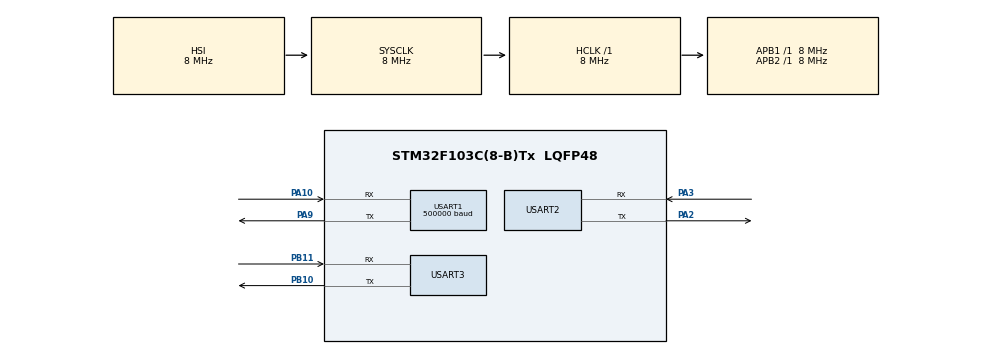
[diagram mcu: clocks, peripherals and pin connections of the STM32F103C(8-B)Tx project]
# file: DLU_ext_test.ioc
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Dma.Request0=USART1_TX
Dma.Request1=USART2_RX
Dma.Request2=USART3_RX
Dma.USART1_TX.0.Direction=DMA_MEMORY_TO_PERIPH
Dma.USART1_TX.0.Instance=DMA1_Channel4
Dma.USART1_TX.0.MemDataAlignment=DMA_MDATAALIGN_BYTE
Dma.USART1_TX.0.MemInc=DMA_MINC_ENABLE
Dma.USART1_TX.0.Mode=DMA_NORMAL
Dma.USART1_TX.0.PeriphDataAlignment=DMA_PDATAALIGN_BYTE
Dma.USART1_TX.0.PeriphInc=DMA_PINC_DISABLE
Dma.USART1_TX.0.Priority=DMA_PRIORITY_HIGH
Dma.USART2_RX.1.Direction=DMA_PERIPH_TO_MEMORY
Dma.USART2_RX.1.Instance=DMA1_Channel6
Dma.USART2_RX.1.MemDataAlignment=DMA_MDATAALIGN_BYTE
Dma.USART2_RX.1.MemInc=DMA_MINC_ENABLE
Dma.USART2_RX.1.Mode=DMA_NORMAL
Dma.USART2_RX.1.PeriphDataAlignment=DMA_PDATAALIGN_BYTE
Dma.USART2_RX.1.PeriphInc=DMA_PINC_DISABLE
Dma.USART2_RX.1.Priority=DMA_PRIORITY_VERY_HIGH
Dma.USART3_RX.2.Direction=DMA_PERIPH_TO_MEMORY
Dma.USART3_RX.2.Instance=DMA1_Channel3
Dma.USART3_RX.2.MemDataAlignment=DMA_MDATAALIGN_BYTE
Dma.USART3_RX.2.MemInc=DMA_MINC_ENABLE
Dma.USART3_RX.2.Mode=DMA_NORMAL
Dma.USART3_RX.2.PeriphDataAlignment=DMA_PDATAALIGN_BYTE
Dma.USART3_RX.2.PeriphInc=DMA_PINC_DISABLE
Dma.USART3_RX.2.Priority=DMA_PRIORITY_VERY_HIGH
Mcu.Family=STM32F1
Mcu.Name=STM32F103C(8-B)Tx
Mcu.Package=LQFP48
NVIC.DMA1_Channel3_IRQn=true\:0\:0\:false\:false\:true\:false\:true\:true
NVIC.DMA1_Channel4_IRQn=true\:0\:0\:false\:false\:true\:false\:true\:true
NVIC.DMA1_Channel6_IRQn=true\:0\:0\:false\:false\:true\:false\:true\:true
NVIC.PriorityGroup=NVIC_PRIORITYGROUP_4
NVIC.TIM1_UP_IRQn=true\:15\:0\:false\:false\:true\:false\:true\:true
NVIC.TIM2_IRQn=true\:0\:0\:false\:false\:true\:true\:true\:true
NVIC.TimeBase=TIM1_UP_IRQn
NVIC.TimeBaseIP=TIM1
NVIC.USART1_IRQn=true\:0\:0\:false\:false\:true\:true\:true\:true
NVIC.USART2_IRQn=true\:0\:0\:false\:false\:true\:true\:true\:true
NVIC.USART3_IRQn=true\:0\:0\:false\:false\:true\:true\:true\:true
PA10.Mode=Asynchronous
PA10.Signal=USART1_RX
PA13.Mode=Serial_Wire
PA13.Signal=SYS_JTMS-SWDIO
PA14.Mode=Serial_Wire
PA14.Signal=SYS_JTCK-SWCLK
PA2.Mode=Asynchronous
PA2.Signal=USART2_TX
PA3.Mode=Asynchronous
PA3.Signal=USART2_RX
PA9.Mode=Asynchronous
PA9.Signal=USART1_TX
PB10.Mode=Asynchronous
PB10.Signal=USART3_TX
PB11.Mode=Asynchronous
PB11.Signal=USART3_RX
PD0-OSC_IN.Mode=HSE-External-Oscillator
PD0-OSC_IN.Signal=RCC_OSC_IN
PD1-OSC_OUT.Mode=HSE-External-Oscillator
PD1-OSC_OUT.Signal=RCC_OSC_OUT
ProjectManager.HeapSize=0x200
ProjectManager.StackSize=0x400
ProjectManager.TargetToolchain=STM32CubeIDE
RCC.AHBFreq_Value=8000000
RCC.APB1Freq_Value=8000000
RCC.APB1TimFreq_Value=8000000
RCC.APB2Freq_Value=8000000
RCC.APB2TimFreq_Value=8000000
RCC.HCLKFreq_Value=8000000
RCC.PLLMUL=RCC_PLL_MUL9
RCC.PLLSourceVirtual=RCC_PLLSOURCE_HSE
RCC.SYSCLKFreq_VALUE=8000000
RCC.USBFreq_Value=72000000
TIM2.CounterMode=TIM_COUNTERMODE_CENTERALIGNED1
TIM2.Period=999
TIM2.Prescaler=7
TIM2.TIM_MasterOutputTrigger=TIM_TRGO_UPDATE
USART1.BaudRate=500000
USART1.VirtualMode=VM_ASYNC
USART2.VirtualMode=VM_ASYNC
USART3.VirtualMode=VM_ASYNC
VP_SYS_VS_tim1.Mode=TIM1
VP_TIM2_VS_ClockSourceINT.Mode=Internal
board=custom

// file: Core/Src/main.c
/* USER CODE BEGIN Header */
/**
  ******************************************************************************
  * @file           : main.c
  * @brief          : Main program body
  ******************************************************************************
  * @attention
  *
  * Copyright (c) 2025 STMicroelectronics.
  * All rights reserved.
  *
  * This software is licensed under terms that can be found in the LICENSE file
  * in the root directory of this software component.
  * If no LICENSE file comes with this software, it is provided AS-IS.
  *
  ******************************************************************************
  */
/* USER CODE END Header */
#include "main.h"

/* USER CODE BEGIN Includes */
#include "string.h"
/* USER CODE END Includes */

/* USER CODE BEGIN PD */
#define RX_BUFFER_SIZE		150
#define QUEUE_SIZE			152 // RX_BUFFER_SIZE + 2
#define CANON_FRAME_SIZE	70
#define FRAME_SIZE			72  //CANON_FRAME_SIZE + 2
#define NUM_OF_PORT         2
#define PORT_1		0
#define PORT_2		1

/* USER CODE END PD */

TIM_HandleTypeDef htim2;

UART_HandleTypeDef huart1;
UART_HandleTypeDef huart2;
UART_HandleTypeDef huart3;
DMA_HandleTypeDef hdma_usart1_tx;
DMA_HandleTypeDef hdma_usart2_rx;
DMA_HandleTypeDef hdma_usart3_rx;

/* USER CODE BEGIN PV */

uint8_t rx_dma_buffer_port_1[RX_BUFFER_SIZE] = {0};
uint8_t rx_dma_buffer_port_2[RX_BUFFER_SIZE] = {0};

uint8_t txBuffer[FRAME_SIZE] = {0};

uint8_t port_1_queue[QUEUE_SIZE] = {0};
uint8_t port_2_queue[QUEUE_SIZE] = {0};

uint8_t frame_size[NUM_OF_PORT] = {0};

uint8_t uart_dma_processing[NUM_OF_PORT] = {0};

uint32_t db_cur_tick = 0;
uint32_t process_period_counter = 0;

/* USER CODE END PV */

void SystemClock_Config(void);
static void MX_GPIO_Init(void);
static void MX_DMA_Init(void);
static void MX_TIM2_Init(void);
static void MX_USART1_UART_Init(void);
static void MX_USART2_UART_Init(void);
static void MX_USART3_UART_Init(void);

/* USER CODE BEGIN 0 */
void HAL_UARTEx_RxEventCallback(UART_HandleTypeDef *huart, uint16_t Size)
{
	if (huart->Instance == USART2){
		frame_size[PORT_1] = Size;
		uart_dma_processing[PORT_1] = 1;
		port_1_queue[0] = 0xaa;
		port_1_queue[1] = 1;
		if (rx_dma_buffer_port_1[0] == 0x85  && frame_size[0] == CANON_FRAME_SIZE){
			for (int i = 0; i < RX_BUFFER_SIZE; i++){
				port_1_queue[i+2] = rx_dma_buffer_port_1[i];
			}
		} else {
			for (int i = 0; i < RX_BUFFER_SIZE; i++){
				port_1_queue[i+2] = 0;
			}
		}
		HAL_UARTEx_ReceiveToIdle_DMA(&huart2, rx_dma_buffer_port_1, RX_BUFFER_SIZE);
		__HAL_DMA_DISABLE_IT(&hdma_usart2_rx, DMA_IT_HT);
	}
	if (huart->Instance == USART3){
		frame_size[PORT_2] = Size;
		uart_dma_processing[PORT_2] = 1;
		port_2_queue[0] = 0xaa;
		port_2_queue[1] = 2;
		if (rx_dma_buffer_port_2[0] == 0x85 && frame_size[1] == CANON_FRAME_SIZE){
			for (int i = 0; i < RX_BUFFER_SIZE; i++){
				port_2_queue[i+2] = rx_dma_buffer_port_2[i];
			}
		} else {
			for (int i = 0; i < RX_BUFFER_SIZE; i++){
				port_2_queue[i+2] = 0;
			}
		}
		HAL_UARTEx_ReceiveToIdle_DMA(&huart3, rx_dma_buffer_port_2, RX_BUFFER_SIZE);
		__HAL_DMA_DISABLE_IT(&hdma_usart3_rx, DMA_IT_HT);
	}
}
/* USER CODE END 0 */

int main(void)
{

  /* MCU Configuration--------------------------------------------------------*/

  /* Reset of all peripherals, Initializes the Flash interface and the Systick. */
  HAL_Init();

  /* Configure the system clock */
  SystemClock_Config();

  /* Initialize all configured peripherals */
  MX_GPIO_Init();
  MX_DMA_Init();
  MX_TIM2_Init();
  MX_USART1_UART_Init();
  MX_USART2_UART_Init();
  MX_USART3_UART_Init();
  /* USER CODE BEGIN 2 */
  HAL_UARTEx_ReceiveToIdle_DMA(&huart2, rx_dma_buffer_port_1, RX_BUFFER_SIZE);
  __HAL_DMA_DISABLE_IT(&hdma_usart2_rx, DMA_IT_HT);

  HAL_UARTEx_ReceiveToIdle_DMA(&huart3, rx_dma_buffer_port_2, RX_BUFFER_SIZE);
  __HAL_DMA_DISABLE_IT(&hdma_usart3_rx, DMA_IT_HT);

  HAL_TIM_Base_Start_IT(&htim2);
  /* USER CODE END 2 */

  /* Infinite loop */
  while (1)
  {

    /* USER CODE BEGIN 3 */
	  db_cur_tick = HAL_GetTick();
  }
  /* USER CODE END 3 */
}

void SystemClock_Config(void)
{
  RCC_OscInitTypeDef RCC_OscInitStruct = {0};
  RCC_ClkInitTypeDef RCC_ClkInitStruct = {0};

  /** Initializes the RCC Oscillators according to the specified parameters
  * in the RCC_OscInitTypeDef structure.
  */
  RCC_OscInitStruct.OscillatorType = RCC_OSCILLATORTYPE_HSI;
  RCC_OscInitStruct.HSIState = RCC_HSI_ON;
  RCC_OscInitStruct.HSICalibrationValue = RCC_HSICALIBRATION_DEFAULT;
  RCC_OscInitStruct.PLL.PLLState = RCC_PLL_NONE;
  if (HAL_RCC_OscConfig(&RCC_OscInitStruct) != HAL_OK)
  {
    Error_Handler();
  }

  /** Initializes the CPU, AHB and APB buses clocks
  */
  RCC_ClkInitStruct.ClockType = RCC_CLOCKTYPE_HCLK|RCC_CLOCKTYPE_SYSCLK
                              |RCC_CLOCKTYPE_PCLK1|RCC_CLOCKTYPE_PCLK2;
  RCC_ClkInitStruct.SYSCLKSource = RCC_SYSCLKSOURCE_HSI;
  RCC_ClkInitStruct.AHBCLKDivider = RCC_SYSCLK_DIV1;
  RCC_ClkInitStruct.APB1CLKDivider = RCC_HCLK_DIV1;
  RCC_ClkInitStruct.APB2CLKDivider = RCC_HCLK_DIV1;

  if (HAL_RCC_ClockConfig(&RCC_ClkInitStruct, FLASH_LATENCY_0) != HAL_OK)
  {
    Error_Handler();
  }
}

static void MX_TIM2_Init(void)
{

  TIM_ClockConfigTypeDef sClockSourceConfig = {0};
  TIM_MasterConfigTypeDef sMasterConfig = {0};

  htim2.Instance = TIM2;
  htim2.Init.Prescaler = 7;
  htim2.Init.CounterMode = TIM_COUNTERMODE_CENTERALIGNED1;
  htim2.Init.Period = 999;
  htim2.Init.ClockDivision = TIM_CLOCKDIVISION_DIV1;
  htim2.Init.AutoReloadPreload = TIM_AUTORELOAD_PRELOAD_DISABLE;
  if (HAL_TIM_Base_Init(&htim2) != HAL_OK)
  {
    Error_Handler();
  }
  sClockSourceConfig.ClockSource = TIM_CLOCKSOURCE_INTERNAL;
  if (HAL_TIM_ConfigClockSource(&htim2, &sClockSourceConfig) != HAL_OK)
  {
    Error_Handler();
  }
  sMasterConfig.MasterOutputTrigger = TIM_TRGO_UPDATE;
  sMasterConfig.MasterSlaveMode = TIM_MASTERSLAVEMODE_DISABLE;
  if (HAL_TIMEx_MasterConfigSynchronization(&htim2, &sMasterConfig) != HAL_OK)
  {
    Error_Handler();
  }

}

static void MX_USART1_UART_Init(void)
{

  huart1.Instance = USART1;
  huart1.Init.BaudRate = 500000;
  huart1.Init.WordLength = UART_WORDLENGTH_8B;
  huart1.Init.StopBits = UART_STOPBITS_1;
  huart1.Init.Parity = UART_PARITY_NONE;
  huart1.Init.Mode = UART_MODE_TX_RX;
  huart1.Init.HwFlowCtl = UART_HWCONTROL_NONE;
  huart1.Init.OverSampling = UART_OVERSAMPLING_16;
  if (HAL_UART_Init(&huart1) != HAL_OK)
  {
    Error_Handler();
  }

}

static void MX_USART2_UART_Init(void)
{

  huart2.Instance = USART2;
  huart2.Init.BaudRate = 115200;
  huart2.Init.WordLength = UART_WORDLENGTH_8B;
  huart2.Init.StopBits = UART_STOPBITS_1;
  huart2.Init.Parity = UART_PARITY_NONE;
  huart2.Init.Mode = UART_MODE_TX_RX;
  huart2.Init.HwFlowCtl = UART_HWCONTROL_NONE;
  huart2.Init.OverSampling = UART_OVERSAMPLING_16;
  if (HAL_UART_Init(&huart2) != HAL_OK)
  {
    Error_Handler();
  }

}

static void MX_USART3_UART_Init(void)
{

  huart3.Instance = USART3;
  huart3.Init.BaudRate = 115200;
  huart3.Init.WordLength = UART_WORDLENGTH_8B;
  huart3.Init.StopBits = UART_STOPBITS_1;
  huart3.Init.Parity = UART_PARITY_NONE;
  huart3.Init.Mode = UART_MODE_TX_RX;
  huart3.Init.HwFlowCtl = UART_HWCONTROL_NONE;
  huart3.Init.OverSampling = UART_OVERSAMPLING_16;
  if (HAL_UART_Init(&huart3) != HAL_OK)
  {
    Error_Handler();
  }

}

static void MX_DMA_Init(void)
{

  /* DMA controller clock enable */
  __HAL_RCC_DMA1_CLK_ENABLE();

  /* DMA interrupt init */
  /* DMA1_Channel3_IRQn interrupt configuration */
  HAL_NVIC_SetPriority(DMA1_Channel3_IRQn, 0, 0);
  HAL_NVIC_EnableIRQ(DMA1_Channel3_IRQn);
  /* DMA1_Channel4_IRQn interrupt configuration */
  HAL_NVIC_SetPriority(DMA1_Channel4_IRQn, 0, 0);
  HAL_NVIC_EnableIRQ(DMA1_Channel4_IRQn);
  /* DMA1_Channel6_IRQn interrupt configuration */
  HAL_NVIC_SetPriority(DMA1_Channel6_IRQn, 0, 0);
  HAL_NVIC_EnableIRQ(DMA1_Channel6_IRQn);

}

static void MX_GPIO_Init(void)
{

  /* GPIO Ports Clock Enable */
  __HAL_RCC_GPIOD_CLK_ENABLE();
  __HAL_RCC_GPIOA_CLK_ENABLE();
  __HAL_RCC_GPIOB_CLK_ENABLE();

}

/* USER CODE BEGIN 4 */
//void HAL_UART_ErrorCallback(UART_HandleTypeDef *huart){
//	if (huart->Instance == USART2){
//		if (__HAL_UART_GET_FLAG(huart, UART_FLAG_ORE)) __HAL_UART_CLEAR_FLAG(huart, UART_FLAG_ORE);
//		if (__HAL_UART_GET_FLAG(huart, UART_FLAG_FE)) __HAL_UART_CLEAR_FLAG(huart, UART_FLAG_FE);
//		if (__HAL_UART_GET_FLAG(huart, UART_FLAG_NE)) __HAL_UART_CLEAR_FLAG(huart, UART_FLAG_NE);
//		if (__HAL_UART_GET_FLAG(huart, UART_FLAG_PE)) __HAL_UART_CLEAR_FLAG(huart, UART_FLAG_PE);
//		HAL_UART_DMAStop(huart);
//		HAL_UARTEx_ReceiveToIdle_DMA(huart, rx_dma_buffer_port_1, RX_BUFFER_SIZE);
//		__HAL_DMA_DISABLE_IT(&hdma_usart2_rx, DMA_IT_HT);
//	} else if (huart->Instance == USART3){
//		if (__HAL_UART_GET_FLAG(huart, UART_FLAG_ORE)) __HAL_UART_CLEAR_FLAG(huart, UART_FLAG_ORE);
//		if (__HAL_UART_GET_FLAG(huart, UART_FLAG_FE)) __HAL_UART_CLEAR_FLAG(huart, UART_FLAG_FE);
//		if (__HAL_UART_GET_FLAG(huart, UART_FLAG_NE)) __HAL_UART_CLEAR_FLAG(huart, UART_FLAG_NE);
//		if (__HAL_UART_GET_FLAG(huart, UART_FLAG_PE)) __HAL_UART_CLEAR_FLAG(huart, UART_FLAG_PE);
//		HAL_UART_DMAStop(huart);
//		HAL_UARTEx_ReceiveToIdle_DMA(huart, rx_dma_buffer_port_2, RX_BUFFER_SIZE);
//		__HAL_DMA_DISABLE_IT(&hdma_usart3_rx, DMA_IT_HT);
//	}
//}
/* USER CODE END 4 */

void HAL_TIM_PeriodElapsedCallback(TIM_HandleTypeDef *htim)
{
  if (htim->Instance == TIM1) {
    HAL_IncTick();
  }
  /* USER CODE BEGIN Callback 1 */
  if (htim->Instance == TIM2){
	  process_period_counter++;
	  if ((process_period_counter == 4) && (port_1_queue[2] == 0x85)){
		  for (int i = 0; i<FRAME_SIZE; i++){
			  txBuffer[i] = port_1_queue[i];
		  }
		  //send data
		  HAL_UART_Transmit_DMA(&huart1, (uint8_t *)txBuffer, FRAME_SIZE);
	  } else if ((process_period_counter == 9) && (port_2_queue[2] == 0x85)){
		  for (int i = 0; i<FRAME_SIZE; i++){
			  txBuffer[i] = port_2_queue[i];
		  }
		  //send data
		  HAL_UART_Transmit_DMA(&huart1, (uint8_t *)txBuffer, FRAME_SIZE);
	  }
  }
  /* USER CODE END Callback 1 */
}

void Error_Handler(void)
{
  __disable_irq();
  while (1)
  {
  }
}
